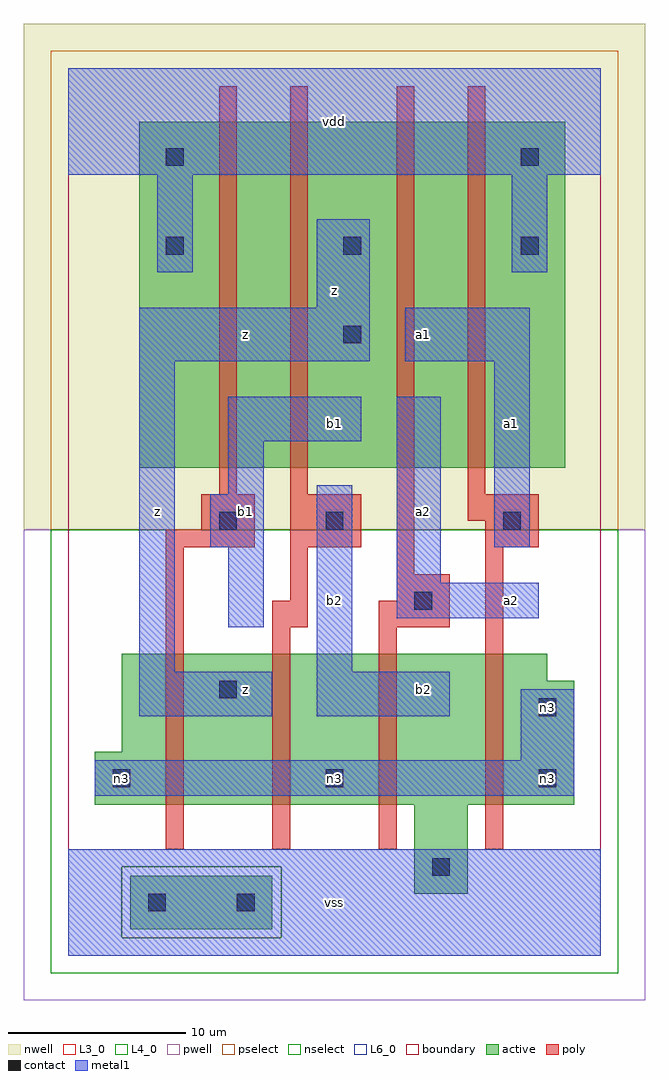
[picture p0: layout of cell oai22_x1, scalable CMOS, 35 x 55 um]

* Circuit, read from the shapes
.subckt oai22_x1 a1 a2 b1 b2 n3 vdd vss z
M1 z b1 n3 vss nfet w=8.5u l=1u
M2 n3 b2 z vss nfet w=8.5u l=1u
M3 vss a2 n3 vss nfet w=8.5u l=1u
M4 n3 a1 vss vss nfet w=8.5u l=1u
M5 n1 b1 vdd n2 pfet w=19.5u l=1u
M6 z b2 n1 n2 pfet w=19.5u l=1u
M7 n4 a2 z n2 pfet w=19.5u l=1u
M8 vdd a1 n4 n2 pfet w=19.5u l=1u
.ends

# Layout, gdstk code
import gdstk
lib = gdstk.Library(unit=1e-6, precision=1e-09)
def R(c, l, rs):  # rectangles x0, y0, x1, y1
    for r in rs: c.add(gdstk.rectangle(r[:2], r[2:], *l))
def A(c, l, x, y, w, h, nx, ny, dx, dy):  # array of equal rectangles
    R(c, l, [(x+i*dx, y+j*dy, x+i*dx+w, y+j*dy+h) for i in range(nx) for j in range(ny)])
L3_0 = (3, 0)
L4_0 = (4, 0)
L6_0 = (6, 0)
contact = (25, 0)
pwell = (41, 0)
nwell = (42, 0)
active = (43, 0)
pselect = (44, 0)
nselect = (45, 0)
poly = (46, 0)
metal1 = (49, 0)
boundary = (63, 0)

oai22_x1 = lib.new_cell('oai22_x1')
R(oai22_x1, L3_0, [(19.5,3.5,22.5,8.5), (1.5,8.5,28.5,11.5), (3,11.5,28.5,15.5), (3,15.5,27,17)])
R(oai22_x1, L4_0, [(4,27.5,28,47)])
R(oai22_x1, L6_0, [(3.5,1.5,11.5,4.5)])
A(oai22_x1, contact, 2.5, 9.5, 1, 1, 3, 1, 12, 0)
A(oai22_x1, contact, 5.5, 39.5, 1, 1, 3, 1, 10, 0)
R(oai22_x1, contact, [(4.5,2.5,5.5,3.5), (9.5,2.5,10.5,3.5), (20.5,4.5,21.5,5.5), (26.5,13.5,27.5,14.5), (8.5,14.5,9.5,15.5), (19.5,19.5,20.5,20.5), (8.5,24,9.5,25), (14.5,24,15.5,25), (24.5,24,25.5,25), (15.5,34.5,16.5,35.5), (5.5,44.5,6.5,45.5), (25.5,44.5,26.5,45.5)])
R(oai22_x1, pwell, [(-2.5,-2.5,32.5,24)])
R(oai22_x1, nwell, [(-2.5,24,32.5,52.5)])
R(oai22_x1, active, [(3.5,1.5,11.5,4.5), (19.5,3.5,22.5,8.5), (1.5,8.5,28.5,11.5), (3,11.5,28.5,15.5), (3,15.5,27,17), (4,27.5,28,47)])
R(oai22_x1, pselect, [(3,1,12,5), (-1,24,31,51)])
R(oai22_x1, nselect, [(-1,-1,31,1), (-1,1,3,5), (12,1,31,5), (-1,5,31,24)])
R(oai22_x1, poly, [(5.5,6,6.5,23), (11.5,6,12.5,18.5), (17.5,6,18.5,18.5), (23.5,6,24.5,23), (11.5,18.5,13.5,20), (17.5,18.5,21.5,20), (12.5,20,13.5,23), (18.5,20,21.5,21.5), (18.5,21.5,19.5,49), (5.5,23,10.5,24), (12.5,23,16.5,26), (23.5,23,26.5,24.5), (7.5,24,10.5,26), (22.5,24.5,26.5,26), (8.5,26,9.5,49), (12.5,26,13.5,49), (22.5,26,23.5,49)])
R(oai22_x1, metal1, [(0,0,30,6), (0,0,30,6), (1.5,9,28.5,11), (1.5,9,28.5,11), (25.5,11,28.5,15), (25.5,11,28.5,15), (4,13.5,11.5,16), (4,13.5,11.5,16), (14,13.5,21.5,16), (14,13.5,21.5,16), (4,16,6,33.5), (4,16,6,33.5), (14,16,16,26.5), (14,16,16,26.5), (9,18.5,11,23), (9,18.5,11,23), (18.5,19,26.5,21), (18.5,19,26.5,21), (18.5,21,21,31.5), (18.5,21,21,31.5), (8,23,11,26), (8,23,11,26), (24,23,26,33.5), (24,23,26,33.5), (9,26,11,29), (9,26,11,29), (9,29,16.5,31.5), (9,29,16.5,31.5), (4,33.5,17,36.5), (4,33.5,17,36.5), (19,33.5,26,36.5), (19,33.5,26,36.5), (14,36.5,17,41.5), (14,36.5,17,41.5), (5,38.5,7,44), (5,38.5,7,44), (25,38.5,27,44), (25,38.5,27,44), (0,44,30,50), (0,44,30,50)])
R(oai22_x1, boundary, [(0,0,30,50)])
oai22_x1.add(gdstk.Label('n3', (3,10), layer=49, texttype=0))
oai22_x1.add(gdstk.Label('n3', (15,10), layer=49, texttype=0))
oai22_x1.add(gdstk.Label('n3', (27,10), layer=49, texttype=0))
oai22_x1.add(gdstk.Label('n3', (27,14), layer=49, texttype=0))
oai22_x1.add(gdstk.Label('z', (5,25), layer=49, texttype=0))
oai22_x1.add(gdstk.Label('z', (10,15), layer=49, texttype=0))
oai22_x1.add(gdstk.Label('b1', (10,25), layer=49, texttype=0))
oai22_x1.add(gdstk.Label('z', (10,35), layer=49, texttype=0))
oai22_x1.add(gdstk.Label('vss', (15,3), layer=49, texttype=0))
oai22_x1.add(gdstk.Label('b2', (15,20), layer=49, texttype=0))
oai22_x1.add(gdstk.Label('b2', (20,15), layer=49, texttype=0))
oai22_x1.add(gdstk.Label('a2', (20,25), layer=49, texttype=0))
oai22_x1.add(gdstk.Label('b1', (15,30), layer=49, texttype=0))
oai22_x1.add(gdstk.Label('a1', (20,35), layer=49, texttype=0))
oai22_x1.add(gdstk.Label('z', (15,37.5), layer=49, texttype=0))
oai22_x1.add(gdstk.Label('vdd', (15,47), layer=49, texttype=0))
oai22_x1.add(gdstk.Label('a2', (25,20), layer=49, texttype=0))
oai22_x1.add(gdstk.Label('a1', (25,30), layer=49, texttype=0))

lib.write_gds('oai22_x1.gds')
